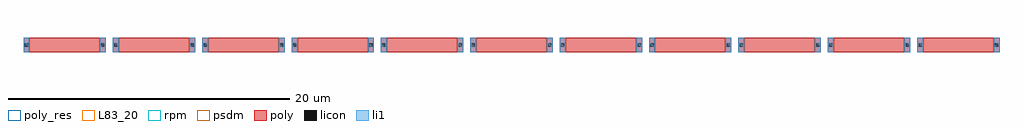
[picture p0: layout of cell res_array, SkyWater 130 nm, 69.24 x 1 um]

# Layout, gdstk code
import gdstk
lib = gdstk.Library(unit=1e-6, precision=1e-09)
def R(c, l, rs):  # rectangles x0, y0, x1, y1
    for r in rs: c.add(gdstk.rectangle(r[:2], r[2:], *l))
def A(c, l, x, y, w, h, nx, ny, dx, dy):  # array of equal rectangles
    R(c, l, [(x+i*dx, y+j*dy, x+i*dx+w, y+j*dy+h) for i in range(nx) for j in range(ny)])
poly_res = (66, 13)
poly = (66, 20)
licon = (66, 44)
li1 = (67, 20)
L83_20 = (83, 20)
rpm = (86, 20)
psdm = (94, 20)

res_array = lib.new_cell('res_array')
A(res_array, poly_res, -12.26, 0, 5, 1, 11, 1, 6.34, 0)
A(res_array, poly, -12.68, 0, 5.84, 1, 11, 1, 6.34, 0)
R(res_array, licon, [(-12.58,0.39,-12.36,0.61), (-7.16,0.39,-6.94,0.61), (-6.24,0.39,-6.02,0.61), (-0.82,0.39,-0.6,0.61), (0.1,0.39,0.32,0.61), (5.52,0.39,5.74,0.61), (6.44,0.39,6.66,0.61), (11.86,0.39,12.08,0.61), (12.78,0.39,13,0.61), (18.2,0.39,18.42,0.61), (19.12,0.39,19.34,0.61), (24.54,0.39,24.76,0.61), (25.46,0.39,25.68,0.61), (30.88,0.39,31.1,0.61), (31.8,0.39,32.02,0.61), (37.22,0.39,37.44,0.61), (38.14,0.39,38.36,0.61), (43.56,0.39,43.78,0.61), (44.48,0.39,44.7,0.61), (49.9,0.39,50.12,0.61), (50.82,0.39,51.04,0.61), (56.24,0.39,56.46,0.61)])
R(res_array, li1, [(-12.68,0,-12.26,1), (-7.26,0,-6.84,1), (-6.34,0,-5.92,1), (-0.92,0,-0.5,1), (0,0,0.42,1), (5.42,0,5.84,1), (6.34,0,6.76,1), (11.76,0,12.18,1), (12.68,0,13.1,1), (18.1,0,18.52,1), (19.02,0,19.44,1), (24.44,0,24.86,1), (25.36,0,25.78,1), (30.78,0,31.2,1), (31.7,0,32.12,1), (37.12,0,37.54,1), (38.04,0,38.46,1), (43.46,0,43.88,1), (44.38,0,44.8,1), (49.8,0,50.22,1), (50.72,0,51.14,1), (56.14,0,56.56,1)])
R(res_array, L83_20, [(-12.26,0,-7.26,1), (-5.92,0,-0.92,1), (44.8,0,49.8,1), (51.14,0,56.14,1)])
A(res_array, rpm, -12.26, 0, 5, 1, 11, 1, 6.34, 0)
A(res_array, psdm, -12.26, 0, 5, 1, 11, 1, 6.34, 0)

lib.write_gds('res_array.gds')
